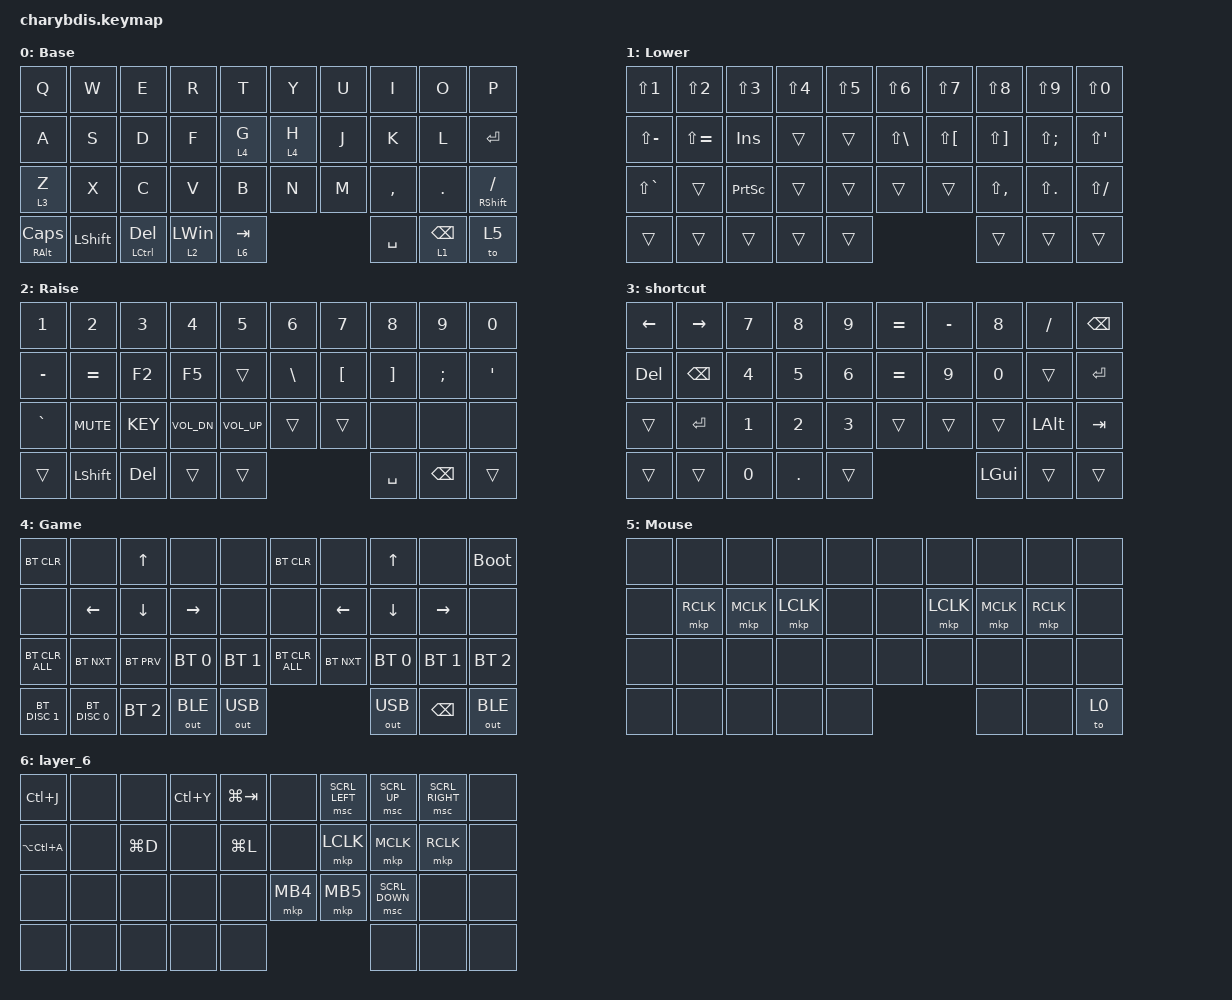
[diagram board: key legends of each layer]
#include <behaviors.dtsi>
#include <dt-bindings/zmk/bt.h>
#include <dt-bindings/zmk/keys.h>
#include <dt-bindings/zmk/mouse.h>
#include <dt-bindings/zmk/outputs.h>

&lt {
    tapping-term-ms = <240>;
    flavor = "tap-preferred";
    quick-tap-ms = <150>;
};

&mt {
    global-quick-tap;
    flavor = "tap-preferred";
    tapping-term-ms = <200>;
};

&sk {
    release-after-ms = <2000>;
    quick-release;
};

/ {
    combos {
        compatible = "zmk,combos";

        combo_esc {
            timeout-ms = <50>;
            key-positions = <0 1>;
            bindings = <&kp ESC>;
        };

        del {
            bindings = <&kp DELETE>;
            key-positions = <10 11>;
            timeout-ms = <50>;
        };

        bk {
            bindings = <&kp BACKSPACE>;
            key-positions = <8 9>;
            timeout-ms = <50>;
        };

        caps {
            bindings = <&kp CAPSLOCK>;
            key-positions = <20 21>;
            timeout-ms = <50>;
        };

        enter {
            bindings = <&kp ENTER>;
            key-positions = <18 19>;
            timeout-ms = <50>;
        };

        tab {
            bindings = <&kp TAB>;
            key-positions = <29 28>;
            timeout-ms = <50>;
        };

        home {
            bindings = <&kp HOME>;
            key-positions = <2 3>;
            timeout-ms = <50>;
        };

        end {
            bindings = <&kp END>;
            key-positions = <12 13>;
        };

        pu {
            bindings = <&kp PAGE_UP>;
            key-positions = <6 7>;
        };

        pd {
            bindings = <&kp PAGE_DOWN>;
            key-positions = <16 17>;
        };
    };

    behaviors {
        hm: homerow_mods {
            compatible = "zmk,behavior-hold-tap";
            label = "HOMEROW_MODS";
            bindings = <&kp>, <&kp>;

            #binding-cells = <2>;
            tapping-term-ms = <200>;
            quick-tap-ms = <180>;
            flavor = "tap-preferred";
        };

        ltq: ltq {
            compatible = "zmk,behavior-hold-tap";
            label = "LTQ";
            bindings = <&mo>, <&kp>;

            #binding-cells = <2>;
            tapping-term-ms = <200>;
            quick-tap-ms = <180>;
            flavor = "tap-preferred";
        };

        as: auto_shift {
            compatible = "zmk,behavior-hold-tap";
            label = "AUTO_SHIFT";
            bindings = <&kp>, <&kp>;

            #binding-cells = <2>;
            tapping-term-ms = <135>;
            quick-tap-ms = <0>;
            flavor = "tap-preferred";
        };
    };

    macros {
        KEY: new_macro {
            compatible = "zmk,behavior-macro";
            #binding-cells = <0>;
            bindings = <&kp LS(C) &kp H &kp L &kp DOT &kp N8 &kp N8 &kp N0 &kp N6 &kp N0 &kp N2 &kp EXCL &kp AT &kp POUND &kp DLLR &kp PRCNT &kp CARET &kp ENTER>;
            label = "NEW_MACRO";
        };
    };

    keymap {
        compatible = "zmk,keymap";

        Base {
            label = "Base";
            bindings = <
&kp Q                   &kp W      &kp E             &kp R           &kp T      &kp Y    &kp U  &kp I      &kp O             &kp P
&kp A                   &kp S      &kp D             &kp F           &lt 4 G    &lt 4 H  &kp J  &kp K      &kp L             &kp ENTER
&lt 3 Z                 &kp X      &kp C             &kp V           &kp B      &kp N    &kp M  &kp COMMA  &kp DOT           &mt RIGHT_SHIFT SLASH
&mt RIGHT_ALT CAPSLOCK  &kp LSHFT  &mt LCTRL DELETE  &lt 2 LEFT_WIN  &lt 6 TAB                  &kp SPACE  &ltq 1 BACKSPACE  &to 5
            >;
        };

        Lower {
            label = "Lower";
            bindings = <
&kp LS(N1)     &kp LS(N2)     &kp LS(N3)       &kp LS(N4)  &kp LS(N5)  &kp LS(N6)    &kp LS(N7)    &kp LS(N8)     &kp LS(N9)    &kp LS(N0)
&kp LS(MINUS)  &kp LS(EQUAL)  &kp INSERT       &trans      &trans      &kp LS(BSLH)  &kp LS(LBKT)  &kp LS(RBKT)   &kp LS(SEMI)  &kp LS(APOS)
&kp LS(GRAVE)  &trans         &kp PRINTSCREEN  &trans      &trans      &trans        &trans        &kp LS(COMMA)  &kp LS(DOT)   &kp LS(FSLH)
&trans         &trans         &trans           &trans      &trans                                  &trans         &trans        &trans
            >;
        };

        Raise {
            label = "Raise";
            bindings = <
&kp N1     &kp N2          &kp N3      &kp N4        &kp N5           &kp N6    &kp N7    &kp N8     &kp N9         &kp N0
&kp MINUS  &kp EQUAL       &kp F2      &kp F5        &trans           &kp BSLH  &kp LBKT  &kp RBKT   &kp SEMI       &kp APOS
&kp GRAVE  &kp C_MUTE      &KEY        &kp C_VOL_DN  &kp C_VOLUME_UP  &trans    &trans    &none      &none          &none
&trans     &kp LEFT_SHIFT  &kp DELETE  &trans        &trans                               &kp SPACE  &kp BACKSPACE  &trans
            >;
        };

        Shortcut {
            label = "shortcut";
            bindings = <
&kp LEFT_ARROW  &kp RIGHT_ARROW  &kp N7  &kp N8   &kp N9  &kp EQUAL  &kp MINUS  &kp N8    &kp FSLH  &kp BSPC
&kp DELETE      &kp BSPC         &kp N4  &kp N5   &kp N6  &kp EQUAL  &kp N9     &kp N0    &trans    &kp ENTER
&trans          &kp ENTER        &kp N1  &kp N2   &kp N3  &trans     &trans     &trans    &kp LALT  &kp TAB
&trans          &trans           &kp N0  &kp DOT  &trans                        &kp LGUI  &trans    &trans
            >;
        };

        Game {
            label = "Game";
            bindings = <
&bt BT_CLR      &none          &kp UP_ARROW  &none         &none         &bt BT_CLR      &none           &kp UP_ARROW    &none            &bootloader
&none           &kp LEFT       &kp DOWN      &kp RIGHT     &none         &none           &kp LEFT_ARROW  &kp DOWN_ARROW  &kp RIGHT_ARROW  &none
&bt BT_CLR_ALL  &bt BT_NXT     &bt BT_PRV    &bt BT_SEL 0  &bt BT_SEL 1  &bt BT_CLR_ALL  &bt BT_NXT      &bt BT_SEL 0    &bt BT_SEL 1     &bt BT_SEL 2
&bt BT_DISC 1   &bt BT_DISC 0  &bt BT_SEL 2  &out OUT_BLE  &out OUT_USB                                  &out OUT_USB    &kp BSPC         &out OUT_BLE
            >;
        };

        Mouse {
            bindings = <
&none  &none      &none      &none      &none  &none  &none      &none      &none      &none
&none  &mkp RCLK  &mkp MCLK  &mkp LCLK  &none  &none  &mkp LCLK  &mkp MCLK  &mkp RCLK  &none
&none  &none      &none      &none      &none  &none  &none      &none      &none      &none
&none  &none      &none      &none      &none                    &none      &none      &to 0
            >;
        };

        layer_6 {
            bindings = <
&kp LC(J)      &none  &none      &kp LC(Y)  &kp LG(TAB)  &none     &msc SCRL_LEFT  &msc SCRL_UP    &msc SCRL_RIGHT  &none
&kp LA(LC(A))  &none  &kp LG(D)  &none      &kp LG(L)    &none     &mkp LCLK       &mkp MCLK       &mkp RCLK        &none
&none          &none  &none      &none      &none        &mkp MB4  &mkp MB5        &msc SCRL_DOWN  &none            &none
&none          &none  &none      &none      &none                                  &none           &none            &none
            >;
        };
    };
};
